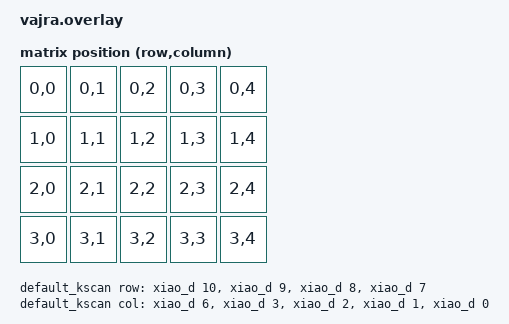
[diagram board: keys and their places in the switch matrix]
#include <dt-bindings/zmk/matrix_transform.h>

/ {
    chosen {
        zmk,kscan = &default_kscan;
		zmk,matrix_transform = &default_transform;
		zephyr,display = &oled;
    };

    default_kscan: kscan {
        compatible = "zmk,kscan-gpio-matrix";
        label = "default_kscan";
		diode-direction = "col2row";

        row-gpios = 
            <&xiao_d 10 (GPIO_ACTIVE_HIGH | GPIO_PULL_DOWN)>,
            <&xiao_d 9 (GPIO_ACTIVE_HIGH | GPIO_PULL_DOWN)>,
            <&xiao_d 8 (GPIO_ACTIVE_HIGH | GPIO_PULL_DOWN)>,
            <&xiao_d 7 (GPIO_ACTIVE_HIGH | GPIO_PULL_DOWN)>;

        col-gpios = 
            <&xiao_d 6 (GPIO_ACTIVE_HIGH | GPIO_PULL_DOWN)>,
            <&xiao_d 3 (GPIO_ACTIVE_HIGH | GPIO_PULL_DOWN)>,
            <&xiao_d 2 (GPIO_ACTIVE_HIGH | GPIO_PULL_DOWN)>,
            <&xiao_d 1 (GPIO_ACTIVE_HIGH | GPIO_PULL_DOWN)>,
            <&xiao_d 0 (GPIO_ACTIVE_HIGH | GPIO_PULL_DOWN)>;
    };
	default_transform: matrix_transform {
        compatible = "zmk,matrix-transform";
        rows = <4>;
        columns = <5>;
        map = <
			RC(0,0) RC(0,1) RC(0,2) RC(0,3) RC(0,4)
        	RC(1,0) RC(1,1) RC(1,2) RC(1,3) RC(1,4)
        	RC(2,0) RC(2,1) RC(2,2) RC(2,3) RC(2,4)
        	RC(3,0) RC(3,1) RC(3,2) RC(3,3) RC(3,4)
        >;
    };
};

/*&pinctrl {
    i2c0_default: i2c0_default {
        group1 {
            psels = <NRF_PSEL(TWIM_SDA, 0, 4)>,
                    <NRF_PSEL(TWIM_SCL, 0, 5)>;
        };
    };

    i2c0_sleep: i2c0_sleep {
        group1 {
            psels = <NRF_PSEL(TWIM_SDA, 0, 4)>,
                    <NRF_PSEL(TWIM_SCL, 0, 5)>;
            low-power-enable;
        };
    };
};

&xiao_i2c {
	compatible = "nordic,nrf-twim";
    status = "okay";
 	clock-frequency = <I2C_BITRATE_STANDARD>;  // 100 kHz
	pinctrl-0 = <&i2c0_default>;
	pinctrl-1 = <&i2c0_sleep>;
    pinctrl-names = "default", "sleep";
	oled: ssd1306@3c {
        compatible = "sinowealth,ss1106fb";
        //compatible = "solomon,ssd1306fb";
        label = "SSD1306";
        reg = <0x3C>;

        width = <128>;
        height = <64>;

        page-offset = <0>;
        display-offset = <0xD3>;
        multiplex-ratio = <0xA8>;
        prechargep = <0x8D>;
		segment-offset = <0>;

		segment-remap;
    	com-invdir;
	};
};*/

zephyr_udc0: &usbd {
    status = "okay";
};

&xiao_i2c {
    status = "okay";
    oled: ssd1306@3c {
        compatible = "solomon,ssd1306fb";
        reg = <0x3c>;
        width = <128>;
        height = <64>;
        segment-offset = <0>;
        page-offset = <0>;
        display-offset = <0>;
        multiplex-ratio = <63>;
        segment-remap;
        com-invdir;
        inversion-on;
        prechargep = <0x22>;
		ready-time-ms = <1000>;
    };
};
